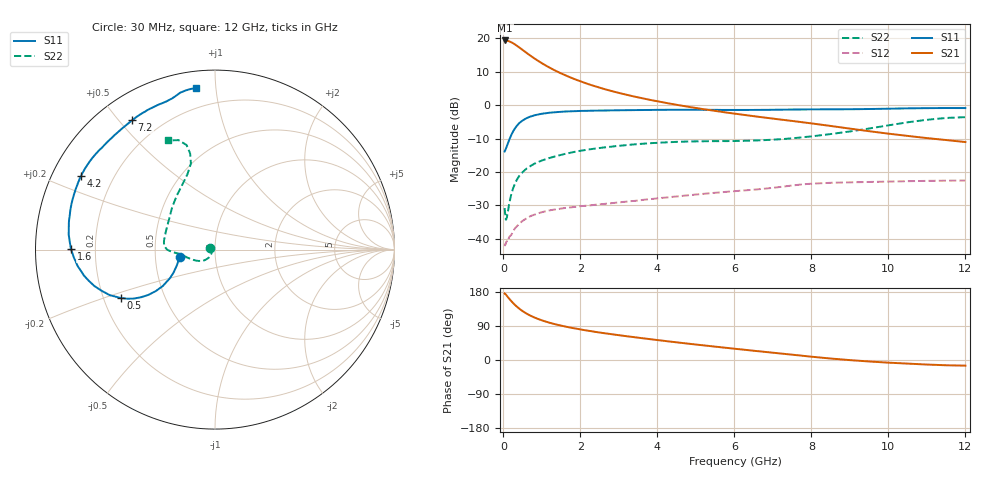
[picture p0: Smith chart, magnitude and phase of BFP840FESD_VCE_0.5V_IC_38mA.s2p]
! Infineon Technologies  Discrete & RF Semiconductors
! BFP840FESD
! VCE =  0.5 V,  IC =  38 mA
! Common Emitter S-Parameters:  May 2012
# GHz  S  MA  R  50
!  f  S11  S21  S12  S22
! GHz  MAG  ANG  MAG  ANG  MAG  ANG  MAG  ANG
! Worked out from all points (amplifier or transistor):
!   103 points, 30 MHz to 12 GHz, reference 50 ohm
!   highest |S21| = 19.4 dB at 40 MHz (marker M1)
!   |S21| within 3 dB of that: start of sweep to 516.5 MHz
!   unconditionally stable (mu >= 1): start of sweep to end of sweep
!   at 400 MHz: K = 2.99, MAG = 18.9 dB, |S12| = -35.7 dB
!   at 3.7 GHz: K = 2.88, MAG = 7.6 dB, |S12| = -28.3 dB
!   at 12 GHz: K = 3.00, MAG = -1.9 dB, |S12| = -22.6 dB
!   S11 on the Smith chart (normalised r, x): 30 MHz: 0.67, -0.06; 500 MHz: 0.27, -0.22; 1.6 GHz: 0.11, +0.00; 4.2 GHz: 0.09, +0.25; 7.2 GHz: 0.10, +0.54; 12 GHz: 0.09, +0.89
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0.03  0.202 -167.5  9.312 175.6  0.0077 12.1  0.0287 162.0
0.04  0.2074 -164.8  9.327 174.3  0.0082 15.2  0.0247 166.5
0.05  0.2139 -162.8  9.322 174.3  0.0083 12.7  0.0228 173.6
0.07  0.2276 -158.2  9.317 171.7  0.0089 17.9  0.0192 -170.4
0.13  0.2813 -149.1  9.132 164.1  0.01 26.0  0.0283 -133.7
0.2  0.3539 -145.1  8.775 155.8  0.0113 31.6  0.0454 -126.5
0.25  0.4039 -145.0  8.473 150.4  0.0127 33.7  0.0566 -127.7
0.35  0.4926 -147.3  7.76 140.6  0.0153 36.9  0.0766 -132.7
0.5  0.591 -152.9  6.712 128.8  0.0185 37.4  0.0992 -140.6
0.7  0.6737 -160.2  5.518 117.0  0.0217 35.4  0.1222 -150.0
0.9  0.7249 -166.2  4.615 108.2  0.0239 33.8  0.1403 -157.2
1.2  0.7705 -173.1  3.649 98.3  0.0265 31.9  0.1618 -164.3
1.6  0.8028 179.8  2.821 88.5  0.0288 30.4  0.186 -170.6
2.1  0.8211 172.9  2.171 78.9  0.0309 30.7  0.2116 -174.3
2.9  0.8364 164.1  1.578 66.8  0.0344 32.1  0.2426 -177.4
4.1  0.8512 152.2  1.115 51.4  0.0407 33.8  0.2748 178.1
4.2  0.8514 151.2  1.087 50.2  0.0411 34.0  0.2764 177.6
6.1  0.8477 134.1  0.734 28.7  0.0519 32.6  0.2912 161.0
7.2  0.8557 122.7  0.608 17.1  0.0595 31.9  0.3086 145.4
8.5  0.8667 111.4  0.488 3.9  0.0686 24.0  0.3689 125.2
10.5  0.8956 102.5  0.346 -9.5  0.0725 16.9  0.5536 104.5
12  0.9041 96.7  0.28 -14.9  0.0742 14.9  0.6615 113.2
